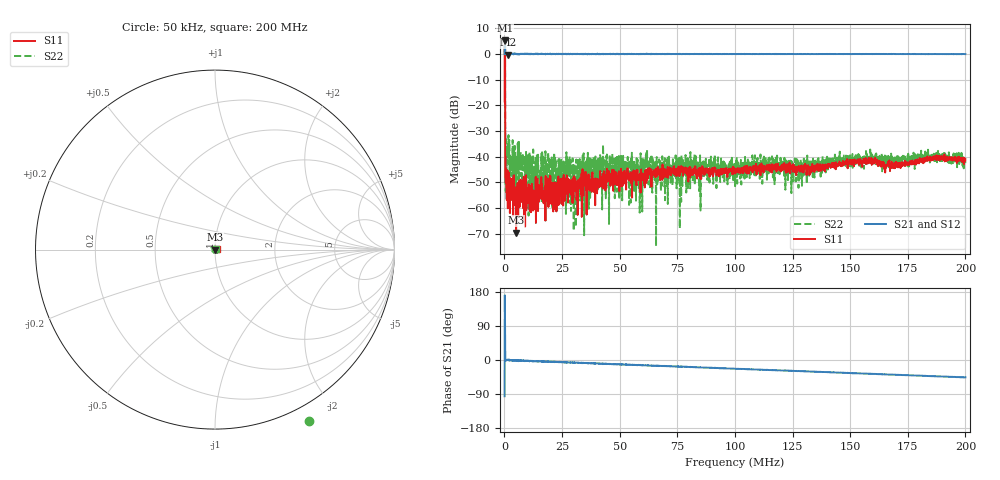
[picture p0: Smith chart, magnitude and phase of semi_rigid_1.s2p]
! 26-Feb-26 2:24:38 PM
! E:\VNA_MEASUREMENTS\HEATED_LOAD\SEMI_RIGID_1.S2P
! CHANNEL.1
! TR.MEASUREMENT
! CORRECTED.DATA
# GHZ S RI R 50.0
! FREQ.GHZ  S11RE  S11IM  S21RE  S21IM  S12RE  S12IM  S22RE  S22IM
!; PortSelection: Port_12
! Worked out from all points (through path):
!   2000 points, 50 kHz to 200 MHz, reference 50 ohm
!   highest |S21| = 5.26 dB at 250 kHz (marker M1); lowest = -0.3 dB at 1.65 MHz (marker M2)
!   lowest |S11| = -69.6 dB at 5.051 MHz (marker M3), VSWR 1.00, Z = 50 + j0.0276 ohm
!   |S11| at or under -10 dB: 109.6 kHz to 188.4 kHz (78.82 kHz wide, 52.9 % of centre); 279.6 kHz to end of sweep
!   |S22| runs from -74.9 to 5.2 dB; largest |S21 - S12| = 3
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5e-05  1.026 0.9906  -0.0994 -0.9936  0.3911 0.8198  0.5211 -0.9528
0.00025005  -0.3381 -1.592  0.3327 1.802  1.023 -1.163  -0.7541 1.141
0.001150275  0.000875 -0.00231  1.015 -0.00134  1.002 0.00891  0.011 0.00326
0.001350325  0.00219 -0.000971  1.014 0.00376  0.9975 -0.00533  0.0107 0.00612
0.0016504  -0.00309 0.00254  0.9662 0.00784  1.006 -0.00897  -0.0199 0.0108
0.0032508  0.000944 -0.00278  1.004 -0.0266  0.996 -0.0132  0.000334 -0.00842
0.005051251  0.000183 0.000276  0.9915 -0.03  0.9975 -0.0174  -0.0078 -0.00249
0.01295323  0.00114 0.00114  1.004 -0.0582  0.9981 -0.0537  -7.41e-05 -0.00409
0.0156539  0.00244 0.000769  1.004 -0.0656  0.999 -0.0664  0.00146 -0.00361
0.02255563  0.000785 0.000342  0.9922 -0.0855  0.9979 -0.0922  0.00483 0.00312
0.03065765  0.00206 0.00317  0.9909 -0.122  0.9908 -0.1269  0.00271 0.002
0.03345835  0.00341 0.0031  0.9897 -0.1436  0.9867 -0.1325  -0.00173 0.0076
0.03555888  0.00101 0.00222  0.9938 -0.1359  0.9895 -0.1402  -0.000333 -0.00293
0.03865966  0.00308 0.00203  0.9784 -0.1604  0.988 -0.1539  0.00652 0.00733
0.05796448  0.00292 0.00241  0.973 -0.2257  0.973 -0.2311  -0.000556 0.00399
0.06126531  0.00328 0.00293  0.9642 -0.2443  0.9685 -0.2437  0.00407 0.00113
0.06676668  0.0037 0.00249  0.9633 -0.2597  0.9627 -0.2657  0.000741 0.00595
0.08217054  0.00471 0.00235  0.9422 -0.3191  0.9465 -0.3263  0.00184 0.00685
0.100075  0.00385 0.00274  0.9209 -0.3949  0.9176 -0.392  0.000769 0.00255
0.1333833  0.00556 0.00293  0.8593 -0.5073  0.8591 -0.5082  0.00436 0.00512
0.1666917  0.0067 0.00227  0.7821 -0.6189  0.781 -0.6197  0.0054 0.00471
0.2  0.00873 0.0016  0.6949 -0.7117  0.691 -0.7088  0.00607 0.00357
